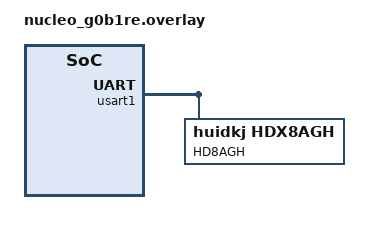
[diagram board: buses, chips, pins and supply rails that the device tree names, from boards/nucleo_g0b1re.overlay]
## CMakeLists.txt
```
# SPDX-License-Identifier: Apache-2.0

cmake_minimum_required(VERSION 3.20.0)
include($ENV{ZEPHYR_BASE}/cmake/app/boilerplate.cmake NO_POLICY_SCOPE)
project(hdx8agh)

FILE(GLOB app_sources src/*.c)
target_sources(app PRIVATE ${app_sources})
```

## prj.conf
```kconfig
CONFIG_STDOUT_CONSOLE=y
CONFIG_SERIAL=y
CONFIG_HDX8AGH=y
CONFIG_UART_INTERRUPT_DRIVEN=y
CONFIG_SENSOR=y
CONFIG_SHELL=y
CONFIG_LOG=y
CONFIG_CBPRINTF_FP_SUPPORT=y
# CONFIG_HDX8AGH_MODUL_2=y
CONFIG_I2C=y
# CONFIG_I2C_SHELL =y
```

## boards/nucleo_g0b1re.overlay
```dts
/*
 * Copyright (c) 2021 G-Technologies Sdn. Bhd.
 *
 * SPDX-License-Identifier: Apache-2.0
 */
 &usart1 {
	hdx8agh {
		compatible = "huidkj,hdx8agh";
		label = "HD8AGH";
		status= "okay";
	};
};
```

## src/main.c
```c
/*
 * Copyright (c) 2021 G-Technologies Sdn. Bhd.
 *
 * SPDX-License-Identifier: Apache-2.0
 */

#include <zephyr.h>
#include <sys/printk.h>
#include <drivers/sensor.h>
#include <drivers/sensor/hdx8agh.h>

void main(void)
{
	const struct device *dev = device_get_binding("HD8AGH");
	struct sensor_value val[8];
	// int ret;

	printk(" HDX8AGH 8-Channel current  sensor application %s\n", dev->name);

	if (!dev) {
		printk("sensor: device not found.\n");
		return;
	}
	// sensor_sample_fetch(dev);
	while (1) {
		if (sensor_channel_get(dev, SENSOR_CHAN_CURRENT_HDX8AGH_2, val) != 0) {
			printk("sensor: channel get fail.\n");
			return;
		}
		printk("Unit 2 Current reading:A:%.2f\tB:%.2f\tC:%.2f\tD:%.2f\tE:%.2f\tF:%.2f\tG:%.2f\tH:%.2f\n",
		       sensor_value_to_double(&val[0]), sensor_value_to_double(&val[1]),
		       sensor_value_to_double(&val[2]), sensor_value_to_double(&val[3]),
		       sensor_value_to_double(&val[4]), sensor_value_to_double(&val[5]),
		       sensor_value_to_double(&val[6]), sensor_value_to_double(&val[7]));

		k_msleep(2000);
	}
}
```
